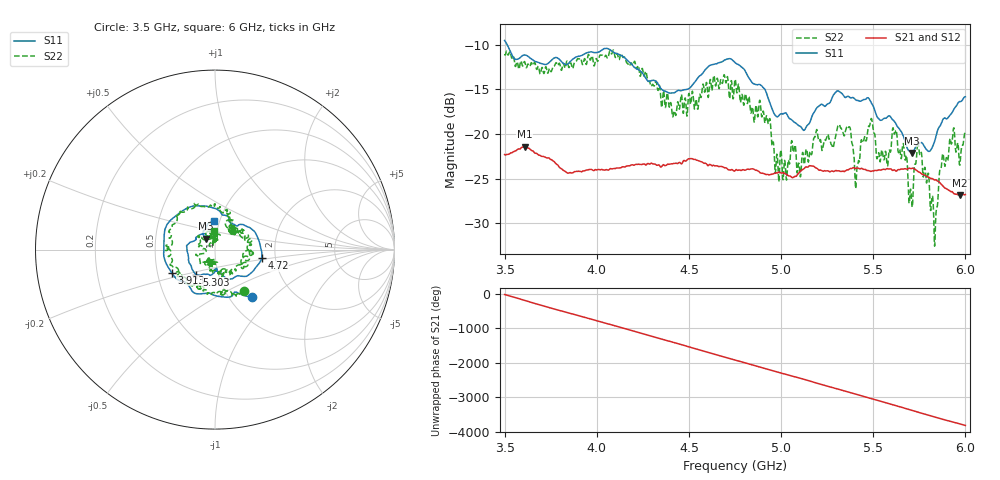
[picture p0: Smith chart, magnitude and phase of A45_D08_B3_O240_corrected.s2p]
! Created with skrf 1.9.0 (http://scikit-rf.org).
# Hz S RI R 50.0
!freq ReS11 ImS11 ReS21 ImS21 ReS12 ImS12 ReS22 ImS22
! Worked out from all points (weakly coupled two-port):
!   1601 points, 3.5 GHz to 6 GHz, reference 50 ohm
!   highest |S21| = -21.43 dB at 3.609 GHz (marker M1); lowest = -26.8 dB at 5.97 GHz (marker M2)
!   lowest |S11| = -22.1 dB at 5.711 GHz (marker M3), VSWR 1.17, Z = 44.9 + j5.45 ohm
!   |S11| at or under -10 dB: 3.514 GHz to end of sweep
!   |S22| runs from -32.5 to -10.6 dB; largest |S21 - S12| = 0.001
!   S11 on the Smith chart (normalised r, x): 3.5 GHz: 1.27, -0.75; 3.913 GHz: 0.59, -0.16; 4.72 GHz: 1.69, -0.18; 5.303 GHz: 0.78, -0.23; 6 GHz: 0.93, +0.31
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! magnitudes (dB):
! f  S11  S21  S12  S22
! 3.5 GHz  -9.5  -22.3  -22.3  -11.1
! 3.609 GHz  -11.2  -21.4  -21.4  -11.9
! 3.913 GHz  -11.2  -24.2  -24.2  -11.5
! 3.917 GHz  -11.2  -24.2  -24.2  -11.8
! 4.334 GHz  -14.5  -23.5  -23.4  -15.0
! 4.72 GHz  -11.6  -24.0  -24.1  -16.1
! 4.75 GHz  -12.0  -24.1  -24.0  -13.9
! 4.931 GHz  -16.1  -24.5  -24.5  -18.9
! 4.978 GHz  -18.1  -24.4  -24.3  -22.3
! 5.167 GHz  -18.0  -23.6  -23.6  -22.2
! 5.303 GHz  -15.2  -24.1  -24.1  -19.6
! 5.367 GHz  -15.8  -24.0  -23.9  -19.2
! 5.409 GHz  -16.2  -23.8  -23.8  -24.5
! 5.484 GHz  -16.3  -24.2  -24.1  -18.7
! 5.584 GHz  -18.0  -23.9  -23.9  -22.1
! 5.617 GHz  -18.7  -24.0  -24.0  -19.9
! 5.711 GHz  -22.1  -23.8  -23.8  -28.2
! 5.75 GHz  -21.0  -24.3  -24.3  -22.1
! 5.838 GHz  -20.5  -25.1  -25.1  -30.1
! 5.872 GHz  -18.7  -25.7  -25.6  -23.1
! 5.97 GHz  -16.4  -26.8  -26.8  -23.5
! 6 GHz  -15.8  -26.8  -26.7  -19.8
